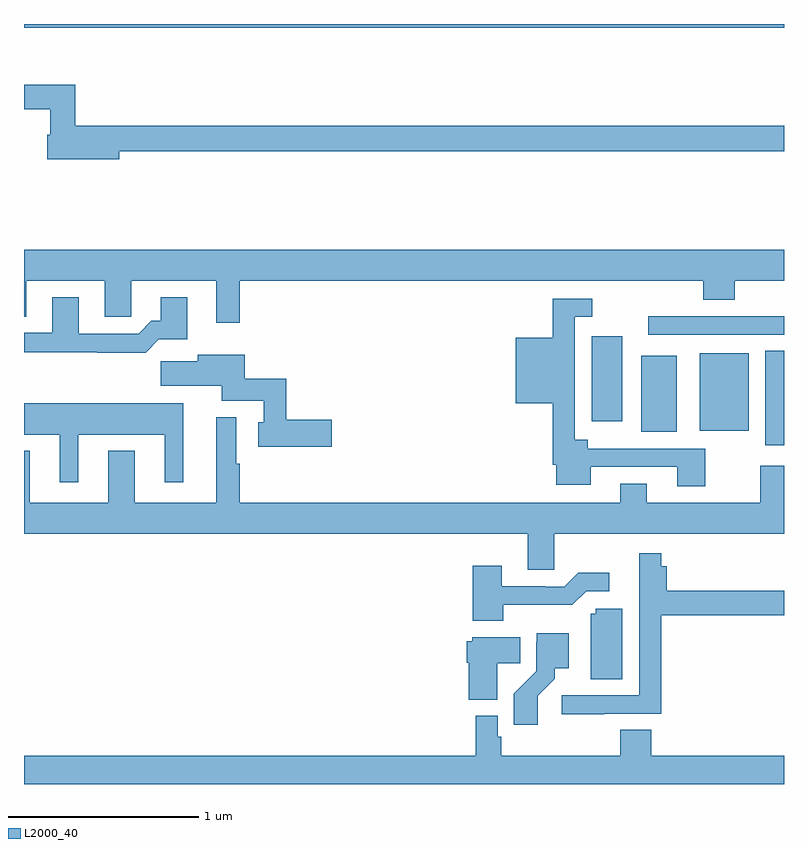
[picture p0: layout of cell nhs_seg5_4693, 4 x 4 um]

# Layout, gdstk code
import gdstk
lib = gdstk.Library(unit=1e-6, precision=1e-09)
def R(c, l, rs):  # rectangles x0, y0, x1, y1
    for r in rs: c.add(gdstk.rectangle(r[:2], r[2:], *l))
def P(c, l, *ps):  # polygons
    for p in ps: c.add(gdstk.Polygon(p, *l))
L2000_40 = (2000, 40)

nhs_seg5_4693 = lib.new_cell('nhs_seg5_4693')
R(nhs_seg5_4693, L2000_40, [(390.902,834.581,391,835.079), (390.248,834.653,390.436,835.054), (390.557,834.659,390.814,835.066), (389.987,834.708,390.148,835.156), (390.285,835.164,391,835.26), (387,836.78,391,836.799)])
P(nhs_seg5_4693, L2000_40, [(387.502,836.128),(391,836.128),(391,836.264),(387.269,836.264),(387.269,836.479),(387,836.479),(387,836.35),(387.137,836.35),(387.137,836.215),(387.122,836.215),(387.122,836.086),(387.502,836.086)],
  [(388.135,835.448),(390.575,835.448),(390.575,835.349),(390.74,835.349),(390.74,835.448),(391,835.448),(391,835.612),(387,835.612),(387,835.258),(387.013,835.258),(387.013,835.448),(387.425,835.448),(387.425,835.258),(387.564,835.258),(387.564,835.448),(388.013,835.448),(388.013,835.227),(388.135,835.227)],
  [(387.71,835.139),(387.859,835.139),(387.859,835.36),(387.719,835.36),(387.719,835.237),(387.67,835.237),(387.603,835.17),(387.289,835.17),(387.289,835.36),(387.149,835.36),(387.149,835.173),(387,835.173),(387,835.072),(387.385,835.072),(387.385,835.07),(387.641,835.07)],
  [(390.585,834.564),(389.968,834.564),(389.968,834.61),(389.898,834.61),(389.898,834.907),(389.899,834.907),(389.899,835.257),(389.992,835.257),(389.992,835.353),(389.782,835.353),(389.782,835.147),(389.588,835.147),(389.588,834.803),(389.782,834.803),(389.782,834.478),(389.801,834.478),(389.801,834.374),(389.983,834.374),(389.983,834.468),(390.437,834.468),(390.437,834.366),(390.585,834.366)],
  [(388.621,834.716),(388.379,834.716),(388.379,834.932),(388.163,834.932),(388.163,835.057),(387.914,835.057),(387.914,835.025),(387.72,835.025),(387.72,834.896),(388.04,834.896),(388.04,834.816),(388.262,834.816),(388.262,834.703),(388.232,834.703),(388.232,834.574),(388.621,834.574)],
  [(387.286,834.638),(387.74,834.638),(387.74,834.387),(387.838,834.387),(387.838,834.802),(387,834.802),(387,834.638),(387.188,834.638),(387.188,834.387),(387.286,834.387)],
  [(389.79,834.116),(391,834.116),(391,834.475),(390.874,834.475),(390.874,834.28),(390.277,834.28),(390.277,834.379),(390.137,834.379),(390.137,834.28),(388.135,834.28),(388.135,834.485),(388.117,834.485),(388.117,834.73),(388.013,834.73),(388.013,834.28),(387.583,834.28),(387.583,834.553),(387.443,834.553),(387.443,834.28),(387.031,834.28),(387.031,834.553),(387,834.553),(387,834.116),(389.651,834.116),(389.651,833.926),(389.79,833.926)],
  [(390.053,833.169),(390.353,833.169),(390.353,833.686),(391,833.686),(391,833.815),(390.383,833.815),(390.383,833.944),(390.353,833.944),(390.353,834.013),(390.237,834.013),(390.237,833.265),(389.829,833.265),(389.829,833.167),(390.053,833.167)],
  [(389.523,833.742),(389.885,833.742),(389.958,833.814),(390.079,833.814),(390.079,833.911),(389.917,833.911),(389.844,833.838),(389.744,833.838),(389.744,833.841),(389.515,833.841),(389.515,833.947),(389.363,833.947),(389.363,833.657),(389.523,833.657)],
  [(390.148,833.721),(390.009,833.721),(390.009,833.694),(389.984,833.694),(389.984,833.35),(390.148,833.35)],
  [(389.704,833.263),(389.794,833.353),(389.794,833.408),(389.866,833.408),(389.866,833.593),(389.699,833.593),(389.699,833.544),(389.697,833.544),(389.697,833.393),(389.578,833.274),(389.578,833.112),(389.704,833.112)],
  [(389.491,833.434),(389.612,833.434),(389.612,833.572),(389.358,833.572),(389.358,833.55),(389.33,833.55),(389.33,833.436),(389.342,833.436),(389.342,833.243),(389.491,833.243)],
  [(391,832.948),(390.302,832.948),(390.302,833.084),(390.137,833.084),(390.137,832.948),(389.513,832.948),(389.513,833.049),(389.493,833.049),(389.493,833.158),(389.377,833.158),(389.377,832.948),(387,832.948),(387,832.799),(391,832.799)])

lib.write_gds('nhs_seg5_4693.gds')
